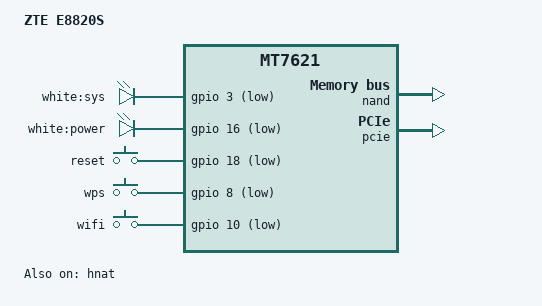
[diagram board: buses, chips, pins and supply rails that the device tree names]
#include "mt7621.dtsi"

#include <dt-bindings/gpio/gpio.h>
#include <dt-bindings/input/input.h>

/ {
	compatible = "zte,e8820s", "mediatek,mt7621-soc";
	model = "ZTE E8820S";

	aliases {
		led-boot = &led_power;
		led-failsafe = &led_power;
		led-running = &led_power;
		led-upgrade = &led_power;
		label-mac-device = &gmac0;
	};

	chosen {
		bootargs = "console=ttyS0,115200";
	};

	leds {
		compatible = "gpio-leds";

		led_sys: sys {
			label = "white:sys";
			gpios = <&gpio 3 GPIO_ACTIVE_LOW>;
		};

		led_power: power {
			label = "white:power";
			gpios = <&gpio 16 GPIO_ACTIVE_LOW>;
		};

	};

	keys {
		compatible = "gpio-keys";

		reset {
			label = "reset";
			gpios = <&gpio 18 GPIO_ACTIVE_LOW>;
			linux,code = <KEY_RESTART>;
		};

		wps {
			label = "wps";
			gpios = <&gpio 8 GPIO_ACTIVE_LOW>;
			linux,code = <KEY_WPS_BUTTON>;
		};

		wifi {
			label = "wifi";
			gpios = <&gpio 10 GPIO_ACTIVE_LOW>;
			linux,code = <KEY_RFKILL>;
		};
	};
};

&nand {
	status = "okay";

	partitions {
		compatible = "fixed-partitions";
		#address-cells = <1>;
		#size-cells = <1>;

		partition@0 {
			label = "u-boot";
			reg = <0x0 0x80000>;
			read-only;
		};

		partition@80000 {
			label = "u-boot-env";
			reg = <0x80000 0x80000>;
			read-only;
		};

		factory: partition@100000 {
			label = "factory";
			reg = <0x100000 0x40000>;
			read-only;
		};

		partition@140000 {
			label = "kernel";
			reg = <0x140000 0x400000>;
		};

		partition@540000 {
			label = "ubi";
			reg = <0x540000 0x7a40000>;
		};

		/*
		 * Leave 512 KiB for the bad block table
		 */
	};
};

&pcie {
	status = "okay";
};

&pcie0 {
	wifi@0,0 {
		reg = <0x0000 0 0 0 0>;
		mediatek,mtd-eeprom = <&factory 0x0000>;
		ieee80211-freq-limit = <2400000 2500000>;
	};
};

&pcie1 {
	wifi@0,0 {
		reg = <0x0000 0 0 0 0>;
		mediatek,mtd-eeprom = <&factory 0x8000>;
		ieee80211-freq-limit = <5000000 6000000>;
	};
};

&gmac0 {
	nvmem-cells = <&macaddr_factory_e000>;
	nvmem-cell-names = "mac-address";
};

&gmac1 {
	nvmem-cells = <&macaddr_factory_e000>;
	nvmem-cell-names = "mac-address";
};

&switch0 {
	/* must delete compatible property */
	/delete-property/ compatible;
};

&hnat {
	mtketh-wan = "eth1";
	mtketh-ppd = "eth0";
	mtketh-lan = "eth0";
	ext-devices = "wlan0","wlan1","rax0","ra0", "rai0","apclii0","apclix0", "apcli0";
	mtketh-max-gmac = <2>;
	status = "okay";
};

&gsw {
	mediatek,mdio = <&mdio>;
	mediatek,portmap = "llllw";
	mediatek,mcm;
	mt7530,direct-phy-access;

	resets = <&rstctrl 2>;
	reset-names = "mcm";

	port5: port@5 {
		compatible = "mediatek,mt753x-port";
		reg = <5>;
		phy-mode = "rgmii";
		fixed-link {
			speed = <1000>;
			full-duplex;
		};
	};

	port6: port@6 {
		compatible = "mediatek,mt753x-port";
		reg = <6>;
		phy-mode = "rgmii";
		fixed-link {
			speed = <1000>;
			full-duplex;
		};
	};

	mdio-bus {
		#address-cells = <1>;
		#size-cells = <0>;
	};
};

&state_default {
	gpio {
		groups = "jtag", "uart2", "uart3", "wdt";
		function = "gpio";
	};
};

&factory {
	compatible = "nvmem-cells";
	#address-cells = <1>;
	#size-cells = <1>;

	macaddr_factory_e000: macaddr@e000 {
		reg = <0xe000 0x6>;
	};
};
